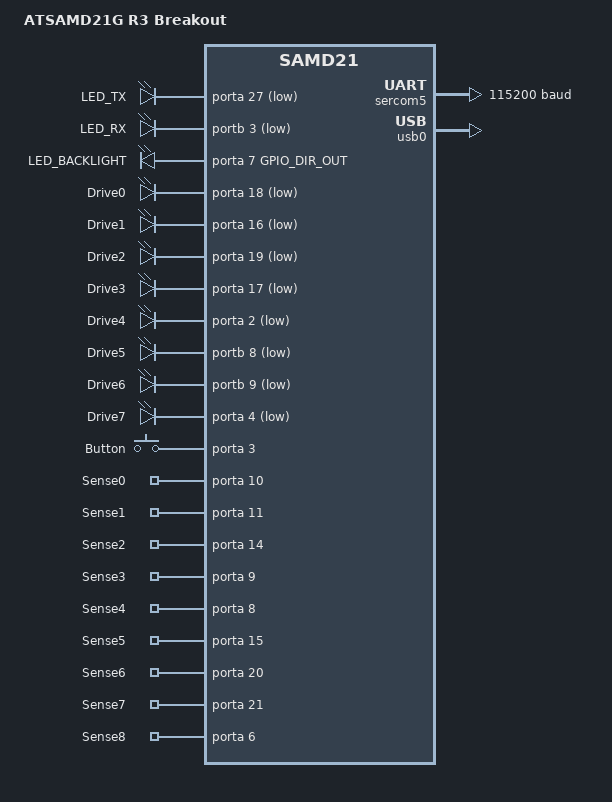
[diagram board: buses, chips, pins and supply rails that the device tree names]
/dts-v1/;

#include <atmel/samd21.dtsi>
#include <dt-bindings/gpio/gpio.h>

/ {
	model = "ATSAMD21G R3 Breakout";
	compatible = "sparkfun,atsamd21g_r3_breakout", "atmel,samd21g18a", "atmel,samd21";

	chosen {
		zephyr,code-partition = &slot0_partition;
		zephyr,console = &sercom5;
		zephyr,flash = &flash0;
		zephyr,shell-uart = &sercom5;
		zephyr,sram = &sram0;
	};

	aliases {
		led0 = &led_tx;
		led1 = &led_rx;
		btn0 = &btn0;
		backlight = &backlight;
		drive0 = &drive0;
		drive1 = &drive1;
		drive2 = &drive2;
		drive3 = &drive3;
		drive4 = &drive4;
		drive5 = &drive5;
		drive6 = &drive6;
		drive7 = &drive7;
		sense0 = &sense0;
		sense1 = &sense1;
		sense2 = &sense2;
		sense3 = &sense3;
		sense4 = &sense4;
		sense5 = &sense5;
		sense6 = &sense6;
		sense7 = &sense7;
		sense8 = &sense8;
	};

	leds {
		compatible = "gpio-leds";

		led_tx: led_tx {
			gpios = <&porta 27 (GPIO_DIR_OUT | GPIO_ACTIVE_LOW)>;
			label = "LED_TX";
		};

		led_rx: led_rx {
			gpios = <&portb 3 (GPIO_DIR_OUT | GPIO_ACTIVE_LOW)>;
			label = "LED_RX";
		};

		backlight: backlight {
			gpios = <&porta 7 GPIO_DIR_OUT>;
			label = "LED_BACKLIGHT";
		};

		drive0: drive0 {
			gpios = <&porta 18 (GPIO_DIR_OUT | GPIO_ACTIVE_LOW)>;
			label = "Drive0";
		};

		drive1: drive1 {
			gpios = <&porta 16 (GPIO_DIR_OUT | GPIO_ACTIVE_LOW)>;
			label = "Drive1";
		};

		drive2: drive2 {
			gpios = <&porta 19 (GPIO_DIR_OUT | GPIO_ACTIVE_LOW)>;
			label = "Drive2";
		};

		drive3: drive3 {
			gpios = <&porta 17 (GPIO_DIR_OUT | GPIO_ACTIVE_LOW)>;
			label = "Drive3";
		};

		drive4: drive4 {
			gpios = <&porta 2 (GPIO_DIR_OUT | GPIO_ACTIVE_LOW)>;
			label = "Drive4";
		};

		drive5: drive5 {
			gpios = <&portb 8 (GPIO_DIR_OUT | GPIO_ACTIVE_LOW)>;
			label = "Drive5";
		};

		drive6: drive6 {
			gpios = <&portb 9 (GPIO_DIR_OUT | GPIO_ACTIVE_LOW)>;
			label = "Drive6";
		};

		drive7: drive7 {
			gpios = <&porta 4 (GPIO_DIR_OUT | GPIO_ACTIVE_LOW)>;
			label = "Drive7";
		};
	};

	buttons {
		compatible = "gpio-keys";

		btn0: btn0 {
			gpios = <&porta 3 (GPIO_DIR_IN | GPIO_PULL_UP)>;
			label = "Button";
		};

		sense0: sense0 {
			gpios = <&porta 10 (GPIO_DIR_IN | GPIO_PULL_UP)>;
			label = "Sense0";
		};

		sense1: sense1 {
			gpios = <&porta 11 (GPIO_DIR_IN | GPIO_PULL_UP)>;
			label = "Sense1";
		};

		sense2: sense2 {
			gpios = <&porta 14 (GPIO_DIR_IN | GPIO_PULL_UP)>;
			label = "Sense2";
		};

		sense3: sense3 {
			gpios = <&porta 9 (GPIO_DIR_IN | GPIO_PULL_UP)>;
			label = "Sense3";
		};

		sense4: sense4 {
			gpios = <&porta 8 (GPIO_DIR_IN | GPIO_PULL_UP)>;
			label = "Sense4";
		};

		sense5: sense5 {
			gpios = <&porta 15 (GPIO_DIR_IN | GPIO_PULL_UP)>;
			label = "Sense5";
		};

		sense6: sense6 {
			gpios = <&porta 20 (GPIO_DIR_IN | GPIO_PULL_UP)>;
			label = "Sense6";
		};

		sense7: sense7 {
			gpios = <&porta 21 (GPIO_DIR_IN | GPIO_PULL_UP)>;
			label = "Sense7";
		};

		sense8: sense8 {
			gpios = <&porta 6 (GPIO_DIR_IN | GPIO_PULL_UP)>;
			label = "Sense8";
		};
	};
};

&cpu0 {
	clock-frequency = <48000000>;
};

&sercom5 {
	status = "okay";
	compatible = "atmel,sam0-uart";
	current-speed = <115200>;
	rxpo = <3>;
	txpo = <1>;
};

&usb0 {
	status = "okay";
};

&flash0 {
	partitions {
		compatible = "fixed-partitions";
		#address-cells = <1>;
		#size-cells = <1>;

		slot0_partition: partition@0 {
			label = "image-0";
			reg = <0x00000000 0x40000>;
		};
	};
};
